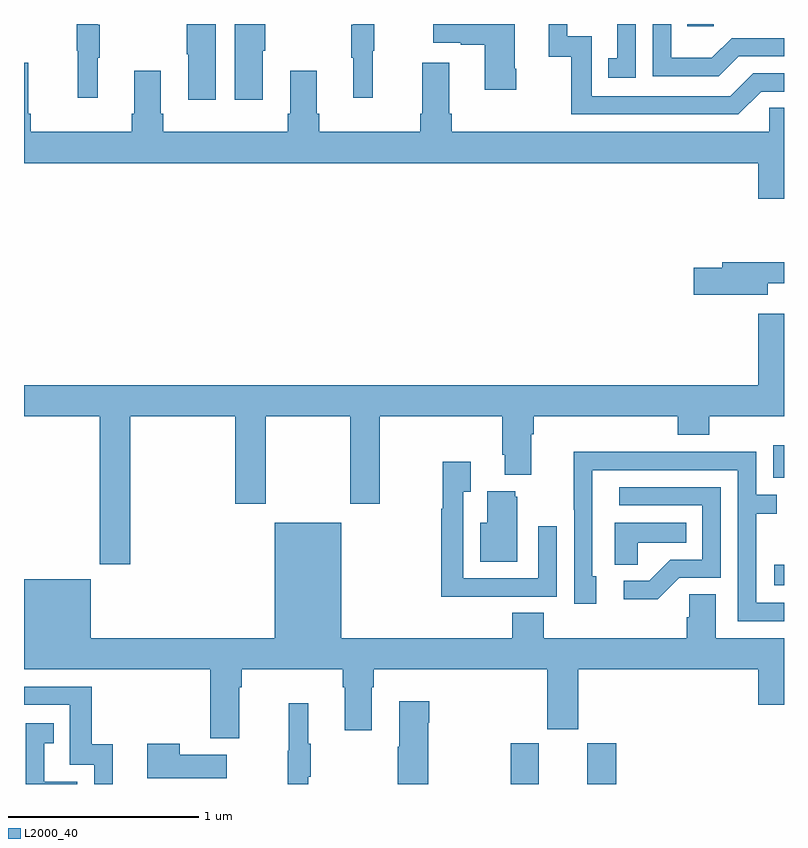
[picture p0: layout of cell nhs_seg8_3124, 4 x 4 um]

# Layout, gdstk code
import gdstk
lib = gdstk.Library(unit=1e-6, precision=1e-09)
def R(c, l, rs):  # rectangles x0, y0, x1, y1
    for r in rs: c.add(gdstk.rectangle(r[:2], r[2:], *l))
def P(c, l, *ps):  # polygons
    for p in ps: c.add(gdstk.Polygon(p, *l))
L2000_40 = (2000, 40)

nhs_seg8_3124 = lib.new_cell('nhs_seg8_3124')
R(nhs_seg8_3124, L2000_40, [(307.561,1111.9,307.708,1112.115), (307.964,1111.9,308.117,1112.115), (308.949,1112.945,309,1113.055), (308.943,1113.513,309,1113.682), (308.491,1115.889,308.631,1115.9)])
P(nhs_seg8_3124, L2000_40, [(306.836,1115.76),(306.844,1115.76),(306.844,1115.9),(306.734,1115.9),(306.734,1115.897),(306.723,1115.897),(306.723,1115.723),(306.734,1115.723),(306.734,1115.511),(306.836,1115.511)],
  [(308.22,1115.9),(308.123,1115.9),(308.123,1115.721),(308.074,1115.721),(308.074,1115.616),(308.22,1115.616)],
  [(307.59,1115.665),(307.582,1115.665),(307.582,1115.9),(307.155,1115.9),(307.155,1115.801),(307.298,1115.801),(307.298,1115.791),(307.424,1115.791),(307.424,1115.553),(307.59,1115.553)],
  [(308.761,1115.73),(309,1115.73),(309,1115.826),(308.724,1115.826),(308.62,1115.722),(308.406,1115.722),(308.406,1115.9),(308.31,1115.9),(308.31,1115.625),(308.656,1115.625)],
  [(306.01,1115.9),(305.857,1115.9),(305.857,1115.74),(305.864,1115.74),(305.864,1115.502),(306.01,1115.502)],
  [(306.256,1115.759),(306.271,1115.759),(306.271,1115.9),(306.11,1115.9),(306.11,1115.502),(306.256,1115.502)],
  [(308.88,1115.544),(309,1115.544),(309,1115.64),(308.838,1115.64),(308.718,1115.52),(307.989,1115.52),(307.989,1115.835),(307.86,1115.835),(307.86,1115.9),(307.763,1115.9),(307.763,1115.727),(307.881,1115.727),(307.881,1115.424),(308.76,1115.424)],
  [(305.387,1115.723),(305.398,1115.723),(305.398,1115.897),(305.387,1115.897),(305.387,1115.9),(305.277,1115.9),(305.277,1115.76),(305.284,1115.76),(305.284,1115.511),(305.387,1115.511)],
  [(309,1115.459),(308.922,1115.459),(308.922,1115.332),(307.25,1115.332),(307.25,1115.428),(307.237,1115.428),(307.237,1115.695),(307.097,1115.695),(307.097,1115.428),(307.085,1115.428),(307.085,1115.332),(306.554,1115.332),(306.554,1115.428),(306.541,1115.428),(306.541,1115.653),(306.401,1115.653),(306.401,1115.428),(306.389,1115.428),(306.389,1115.332),(305.732,1115.332),(305.732,1115.428),(305.719,1115.428),(305.719,1115.653),(305.579,1115.653),(305.579,1115.428),(305.567,1115.428),(305.567,1115.332),(305.036,1115.332),(305.036,1115.428),(305.023,1115.428),(305.023,1115.695),(305,1115.695),(305,1115.168),(308.864,1115.168),(308.864,1114.98),(309,1114.98)],
  [(308.914,1114.535),(309,1114.535),(309,1114.645),(308.675,1114.645),(308.675,1114.616),(308.526,1114.616),(308.526,1114.474),(308.914,1114.474)],
  [(305.558,1113.836),(306.113,1113.836),(306.113,1113.375),(306.273,1113.375),(306.273,1113.836),(306.718,1113.836),(306.718,1113.375),(306.873,1113.375),(306.873,1113.836),(307.517,1113.836),(307.517,1113.634),(307.529,1113.634),(307.529,1113.527),(307.669,1113.527),(307.669,1113.74),(307.682,1113.74),(307.682,1113.836),(308.441,1113.836),(308.441,1113.737),(308.606,1113.737),(308.606,1113.836),(309,1113.836),(309,1114.375),(308.864,1114.375),(308.864,1114),(305,1114),(305,1113.836),(305.398,1113.836),(305.398,1113.057),(305.558,1113.057)],
  [(309,1112.853),(308.853,1112.853),(308.853,1113.322),(308.963,1113.322),(308.963,1113.423),(308.853,1113.423),(308.853,1113.648),(308.357,1113.648),(308.357,1113.65),(307.894,1113.65),(307.894,1113.343),(307.896,1113.343),(307.896,1112.85),(308.011,1112.85),(308.011,1112.994),(307.992,1112.994),(307.992,1113.552),(308.757,1113.552),(308.757,1112.757),(309,1112.757)],
  [(307.487,1112.886),(307.803,1112.886),(307.803,1113.256),(307.707,1113.256),(307.707,1112.982),(307.311,1112.982),(307.311,1113.439),(307.351,1113.439),(307.351,1113.595),(307.203,1113.595),(307.203,1113.35),(307.195,1113.35),(307.195,1112.885),(307.487,1112.885)],
  [(308.448,1112.985),(308.667,1112.985),(308.667,1113.462),(308.133,1113.462),(308.133,1113.366),(308.571,1113.366),(308.571,1113.081),(308.402,1113.081),(308.291,1112.97),(308.157,1112.97),(308.157,1112.873),(308.335,1112.873)],
  [(307.597,1113.411),(307.586,1113.411),(307.586,1113.442),(307.439,1113.442),(307.439,1113.274),(307.4,1113.274),(307.4,1113.071),(307.597,1113.071)],
  [(308.229,1113.17),(308.486,1113.17),(308.486,1113.274),(308.108,1113.274),(308.108,1113.055),(308.229,1113.055)],
  [(306.677,1112.408),(306.689,1112.408),(306.689,1112.184),(306.829,1112.184),(306.829,1112.408),(306.842,1112.408),(306.842,1112.504),(307.754,1112.504),(307.754,1112.187),(307.918,1112.187),(307.918,1112.504),(308.864,1112.504),(308.864,1112.316),(309,1112.316),(309,1112.668),(308.641,1112.668),(308.641,1112.9),(308.502,1112.9),(308.502,1112.777),(308.489,1112.777),(308.489,1112.668),(307.736,1112.668),(307.736,1112.801),(307.571,1112.801),(307.571,1112.668),(306.67,1112.668),(306.67,1113.274),(306.32,1113.274),(306.32,1112.668),(305.35,1112.668),(305.35,1112.977),(305,1112.977),(305,1112.504),(305.981,1112.504),(305.981,1112.142),(306.133,1112.142),(306.133,1112.408),(306.146,1112.408),(306.146,1112.504),(306.677,1112.504)],
  [(305.468,1112.11),(305.357,1112.11),(305.357,1112.412),(305,1112.412),(305,1112.316),(305.241,1112.316),(305.241,1112.001),(305.37,1112.001),(305.37,1111.9),(305.468,1111.9)],
  [(307.128,1112.222),(307.133,1112.222),(307.133,1112.335),(306.974,1112.335),(306.974,1112.096),(306.967,1112.096),(306.967,1111.9),(307.128,1111.9)],
  [(306.497,1111.939),(306.508,1111.939),(306.508,1112.113),(306.497,1112.113),(306.497,1112.326),(306.394,1112.326),(306.394,1112.076),(306.387,1112.076),(306.387,1111.9),(306.497,1111.9)],
  [(305.28,1111.911),(305.107,1111.911),(305.107,1112.115),(305.156,1112.115),(305.156,1112.221),(305.01,1112.221),(305.01,1111.9),(305.28,1111.9)],
  [(306.067,1112.053),(305.819,1112.053),(305.819,1112.113),(305.648,1112.113),(305.648,1111.931),(306.067,1111.931)])

lib.write_gds('nhs_seg8_3124.gds')
